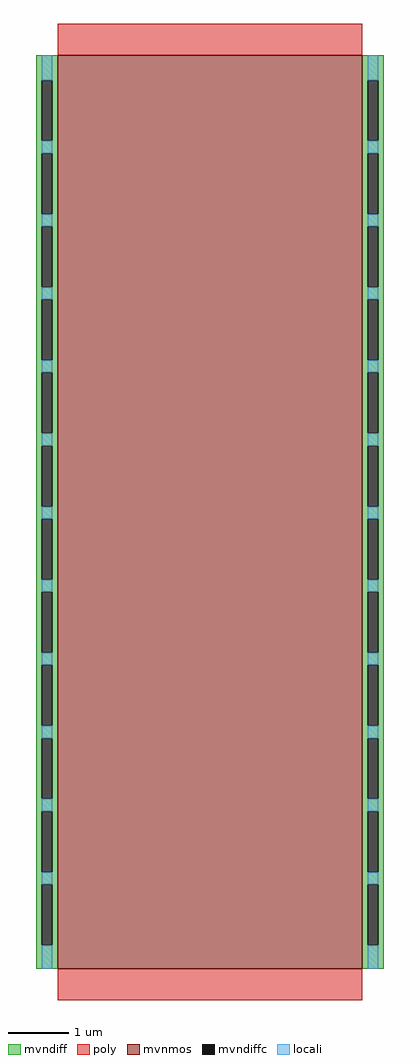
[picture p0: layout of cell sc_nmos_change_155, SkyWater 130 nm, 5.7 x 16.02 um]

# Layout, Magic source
magic
tech sky130A
<< mvnmos >>
rect 225 601 725 2101
<< mvndiff >>
rect 190 2060 225 2101
rect 190 1960 199 2060
rect 216 1960 225 2060
rect 190 1940 225 1960
rect 190 1840 199 1940
rect 216 1840 225 1940
rect 190 1820 225 1840
rect 190 1720 199 1820
rect 216 1720 225 1820
rect 190 1700 225 1720
rect 190 1600 199 1700
rect 216 1600 225 1700
rect 190 1580 225 1600
rect 190 1480 199 1580
rect 216 1480 225 1580
rect 190 1460 225 1480
rect 190 1360 199 1460
rect 216 1360 225 1460
rect 190 1340 225 1360
rect 190 1240 199 1340
rect 216 1240 225 1340
rect 190 1220 225 1240
rect 190 1120 199 1220
rect 216 1120 225 1220
rect 190 1100 225 1120
rect 190 1000 199 1100
rect 216 1000 225 1100
rect 190 980 225 1000
rect 190 880 199 980
rect 216 880 225 980
rect 190 860 225 880
rect 190 760 199 860
rect 216 760 225 860
rect 190 740 225 760
rect 190 640 199 740
rect 216 640 225 740
rect 190 601 225 640
rect 725 2060 760 2101
rect 725 1960 734 2060
rect 751 1960 760 2060
rect 725 1940 760 1960
rect 725 1840 734 1940
rect 751 1840 760 1940
rect 725 1820 760 1840
rect 725 1720 734 1820
rect 751 1720 760 1820
rect 725 1700 760 1720
rect 725 1600 734 1700
rect 751 1600 760 1700
rect 725 1580 760 1600
rect 725 1480 734 1580
rect 751 1480 760 1580
rect 725 1460 760 1480
rect 725 1360 734 1460
rect 751 1360 760 1460
rect 725 1340 760 1360
rect 725 1240 734 1340
rect 751 1240 760 1340
rect 725 1220 760 1240
rect 725 1120 734 1220
rect 751 1120 760 1220
rect 725 1100 760 1120
rect 725 1000 734 1100
rect 751 1000 760 1100
rect 725 980 760 1000
rect 725 880 734 980
rect 751 880 760 980
rect 725 860 760 880
rect 725 760 734 860
rect 751 760 760 860
rect 725 740 760 760
rect 725 640 734 740
rect 751 640 760 740
rect 725 601 760 640
<< mvndiffc >>
rect 199 1960 216 2060
rect 199 1840 216 1940
rect 199 1720 216 1820
rect 199 1600 216 1700
rect 199 1480 216 1580
rect 199 1360 216 1460
rect 199 1240 216 1340
rect 199 1120 216 1220
rect 199 1000 216 1100
rect 199 880 216 980
rect 199 760 216 860
rect 199 640 216 740
rect 734 1960 751 2060
rect 734 1840 751 1940
rect 734 1720 751 1820
rect 734 1600 751 1700
rect 734 1480 751 1580
rect 734 1360 751 1460
rect 734 1240 751 1340
rect 734 1120 751 1220
rect 734 1000 751 1100
rect 734 880 751 980
rect 734 760 751 860
rect 734 640 751 740
<< poly >>
rect 225 2101 725 2152
rect 225 550 725 601
<< locali >>
rect 199 2060 216 2101
rect 199 1940 216 1960
rect 199 1820 216 1840
rect 199 1700 216 1720
rect 199 1580 216 1600
rect 199 1460 216 1480
rect 199 1340 216 1360
rect 199 1220 216 1240
rect 199 1100 216 1120
rect 199 980 216 1000
rect 199 860 216 880
rect 199 740 216 760
rect 199 601 216 640
rect 734 2060 751 2101
rect 734 1940 751 1960
rect 734 1820 751 1840
rect 734 1700 751 1720
rect 734 1580 751 1600
rect 734 1460 751 1480
rect 734 1340 751 1360
rect 734 1220 751 1240
rect 734 1100 751 1120
rect 734 980 751 1000
rect 734 860 751 880
rect 734 740 751 760
rect 734 601 751 640
<< end >>
